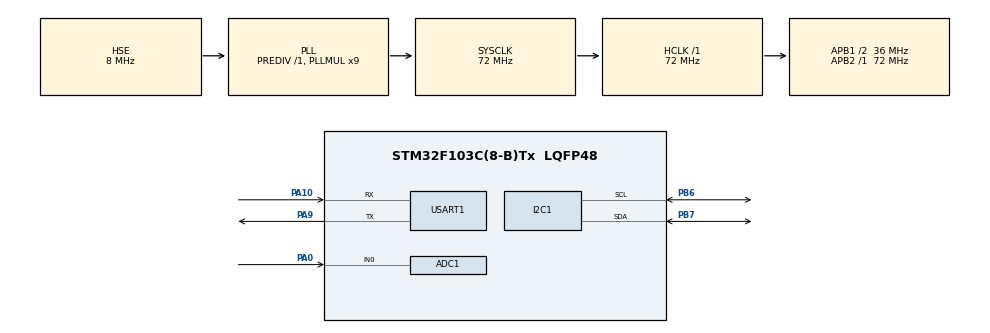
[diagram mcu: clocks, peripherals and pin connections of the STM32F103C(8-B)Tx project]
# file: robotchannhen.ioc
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ADC1.Channel-0\#ChannelRegularConversion=ADC_CHANNEL_0
ADC1.ContinuousConvMode=ENABLE
ADC1.NbrOfConversionFlag=1
ADC1.Rank-0\#ChannelRegularConversion=1
ADC1.SamplingTime-0\#ChannelRegularConversion=ADC_SAMPLETIME_1CYCLE_5
ADC1.master=1
Mcu.Family=STM32F1
Mcu.Name=STM32F103C(8-B)Tx
Mcu.Package=LQFP48
NVIC.ADC1_2_IRQn=true\:0\:0\:false\:false\:true\:true\:true\:true
NVIC.PriorityGroup=NVIC_PRIORITYGROUP_4
NVIC.TIM2_IRQn=true\:0\:0\:false\:false\:true\:true\:true\:true
NVIC.USART1_IRQn=true\:1\:0\:true\:false\:true\:true\:true\:true
PA0-WKUP.Signal=ADCx_IN0
PA10.Mode=Asynchronous
PA10.Signal=USART1_RX
PA13.Mode=Serial_Wire
PA13.Signal=SYS_JTMS-SWDIO
PA14.Mode=Serial_Wire
PA14.Signal=SYS_JTCK-SWCLK
PA9.Mode=Asynchronous
PA9.Signal=USART1_TX
PB6.Mode=I2C
PB6.Signal=I2C1_SCL
PB7.Mode=I2C
PB7.Signal=I2C1_SDA
PD0-OSC_IN.Mode=HSE-External-Oscillator
PD0-OSC_IN.Signal=RCC_OSC_IN
PD1-OSC_OUT.Mode=HSE-External-Oscillator
PD1-OSC_OUT.Signal=RCC_OSC_OUT
ProjectManager.HeapSize=0x200
ProjectManager.StackSize=0x400
ProjectManager.TargetToolchain=STM32CubeIDE
RCC.AHBFreq_Value=72000000
RCC.APB1CLKDivider=RCC_HCLK_DIV2
RCC.APB1Freq_Value=36000000
RCC.APB1TimFreq_Value=72000000
RCC.APB2Freq_Value=72000000
RCC.APB2TimFreq_Value=72000000
RCC.HCLKFreq_Value=72000000
RCC.PLLMUL=RCC_PLL_MUL9
RCC.PLLSourceVirtual=RCC_PLLSOURCE_HSE
RCC.SYSCLKFreq_VALUE=72000000
RCC.SYSCLKSource=RCC_SYSCLKSOURCE_PLLCLK
RCC.USBFreq_Value=72000000
SH.ADCx_IN0.0=ADC1_IN0,IN0
TIM2.AutoReloadPreload=TIM_AUTORELOAD_PRELOAD_DISABLE
TIM2.Period=9999
TIM2.Prescaler=143
USART1.VirtualMode=VM_ASYNC
VP_TIM2_VS_ClockSourceINT.Mode=Internal
board=custom

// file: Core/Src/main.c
/* USER CODE BEGIN Header */
/**
  ******************************************************************************
  * @file           : main.c
  * @brief          : Main program body
  ******************************************************************************
  * @attention
  *
  * Copyright (c) 2023 STMicroelectronics.
  * All rights reserved.
  *
  * This software is licensed under terms that can be found in the LICENSE file
  * in the root directory of this software component.
  * If no LICENSE file comes with this software, it is provided AS-IS.
  *
  ******************************************************************************
  */
/* USER CODE END Header */
#include "main.h"
#include "adc.h"
#include "i2c.h"
#include "tim.h"
#include "usart.h"
#include "gpio.h"

/* USER CODE BEGIN Includes */
#include "pca9685.h"
#include "math.h"
#include "lcd_i2c.h"
#include "stdio.h"
#include "stdint.h"
#include "string.h"
#include "stdlib.h"
/* USER CODE END Includes */

/* USER CODE BEGIN PD */

float servo[4][3];

#define length_a  55
#define length_b 77.5
#define length_c 27.5
#define length_side 71
#define z_absolute -28 //size of robot

#define z_default -50
#define z_up -30
#define z_boot -28
#define x_default  62
#define x_offset 0
#define y_start 0
#define y_step  40
#define y_default  62  //const for movement

#define spot_turn_speed 4
#define leg_move_speed  8
#define body_move_speed 3
#define stand_seat_speed  1

#define KEEP  255
#define pi  3.1415926

#define E_DELTA 0.01
/* USER CODE END PD */

/* USER CODE BEGIN PV */
  /* variables for movement ----------------------------------------------------*/
  float site_now[4][3];
  float site_expect[4][3];
  float temp_speed[4][3];

  float move_speed;
  float speed_multiple = 1;

  float temp_a;
  float temp_b;
  float temp_c;
  float temp_alpha;

  float turn_x1;
  float turn_y1;
  float turn_x0;
  float turn_y0;

  float alpha;
  float beta;
  float gan;

  int rest_counter;

  uint8_t rxData;
  uint8_t CT = 0;
  uint8_t NS;
  uint8_t NT;

  LCD_I2C_HandleTypeDef p_LCD;

  LCD_I2C_HandleTypeDef percent;

  float ADC_value = 0;

/* USER CODE END PV */

void SystemClock_Config(void);

/* USER CODE BEGIN 0 */
void polar_to_servo(int leg, float alpha, float beta, float gan)
{
  if (leg == 0)
  {
    alpha = 90 - alpha;
    beta = beta;
    gan += 90;
  }
  else if (leg == 1)
  {
    alpha += 90;
    beta = 180 - beta;
    gan = 90 - gan;
  }
  else if (leg == 2)
  {
    alpha += 90;
    beta = 180 - beta;
    gan = 90 - gan;
  }
  else if (leg == 3)
  {
    alpha = 90 - alpha;
    beta = beta;
    gan += 90;
  }

  PCA9685_SetServoAngle(servo[leg][0], alpha);
  PCA9685_SetServoAngle(servo[leg][1], beta);
  PCA9685_SetServoAngle(servo[leg][2], gan);
}

void cartesian_to_polar(float *alpha, float *beta, float *gan, float x, float y, float z)  // *alpha là pointer của alpha &->*
{
    // Calculate w-z degree
    float v, w;
    w = (x >= 0 ? 1 : -1) * (sqrt(powf(x, 2) + powf(y, 2)));
    v = w - length_c;
    *alpha = atan2f(z, v) + acosf((powf(length_a, 2) - powf(length_b, 2) + powf(v, 2) + powf(z, 2)) / (2.0f * length_a * sqrtf(powf(v, 2) + powf(z, 2))));
    *beta = acosf((powf(length_a, 2) + powf(length_b, 2) - powf(v, 2) - powf(z, 2)) / (2.0f * length_a * length_b));

    // Calculate x-y-z degree
    *gan = (w >= 0) ? atan2f(y, x) : atan2f(-y, -x);

    // Convert degrees from radian to degrees
    *alpha = *alpha / pi * 180.0f;
    *beta = *beta / pi * 180.0f;
    *gan = *gan / pi * 180.0f;
}
void wait_reach(int leg)
{
  while (1)
    if (site_now[leg][0] == site_expect[leg][0])
      if (site_now[leg][1] == site_expect[leg][1])
        if (site_now[leg][2] == site_expect[leg][2])
          break;
}

void wait_all_reach(void)
{
  for (int i = 0; i < 4; i++)
    wait_reach(i);
}

void set_site(int leg, float x, float y, float z)
{
  float length_x = 0, length_y = 0, length_z = 0;

  if (x != KEEP)
    length_x = x - site_now[leg][0];
  if (y != KEEP)
    length_y = y - site_now[leg][1];
  if (z != KEEP)
    length_z = z - site_now[leg][2];

  float length = sqrt(pow(length_x, 2) + pow(length_y, 2) + pow(length_z, 2));

  temp_speed[leg][0] = length_x / length * move_speed * speed_multiple;
  temp_speed[leg][1] = length_y / length * move_speed * speed_multiple;
  temp_speed[leg][2] = length_z / length * move_speed * speed_multiple;

  if (x != KEEP)
    site_expect[leg][0] = x;
  if (y != KEEP)
    site_expect[leg][1] = y;
  if (z != KEEP)
    site_expect[leg][2] = z;
}
void body_right(int i)
{
  set_site(0, site_now[0][0] - i, KEEP, KEEP);
  set_site(1, site_now[1][0] - i, KEEP, KEEP);
  set_site(2, site_now[2][0] + i, KEEP, KEEP);
  set_site(3, site_now[3][0] + i, KEEP, KEEP);
  wait_all_reach();
}

void body_left(int i)
{
  set_site(0, site_now[0][0] + i, KEEP, KEEP);
  set_site(1, site_now[1][0] + i, KEEP, KEEP);
  set_site(2, site_now[2][0] - i, KEEP, KEEP);
  set_site(3, site_now[3][0] - i, KEEP, KEEP);
  wait_all_reach();
}

void servo_service(void)  // Place it in a 20ms timer interrupt
{

  for (int i = 0; i < 4; i++)
  {
    for (int j = 0; j < 3; j++)
    {
      if (fabs(site_now[i][j] - site_expect[i][j]) < (fabs(temp_speed[i][j]) + E_DELTA))
        site_now[i][j] = site_expect[i][j];
      else
        site_now[i][j] += temp_speed[i][j];
    }

    cartesian_to_polar(&alpha, &beta, &gan, site_now[i][0], site_now[i][1], site_now[i][2]);
    polar_to_servo(i, alpha, beta, gan);
  }

  rest_counter++;
}

void setup() {
    set_site(0, x_default - x_offset, y_start + y_step, z_boot);
    set_site(1, x_default - x_offset, y_start + y_step, z_boot);
    set_site(2, x_default + x_offset, y_start, z_boot);
    set_site(3, x_default + x_offset, y_start, z_boot);
    for (int i = 0; i < 4; i++)
    {
        for (int j = 0; j < 3; j++)
        {
            site_now[i][j] = site_expect[i][j];
        }
    }
}

void sit(void)

{
  move_speed = stand_seat_speed;
  for (int leg = 0; leg < 4; leg++)
  {
    set_site(leg, KEEP, KEEP, z_boot);
  }
  wait_all_reach();
}

void stand(void)
{
  move_speed = stand_seat_speed;
  for (int leg = 0; leg < 4; leg++)
  {
    set_site(leg, KEEP, KEEP, z_default);
  }
  wait_all_reach();
}

void step_forward(unsigned int step)
{
  move_speed = leg_move_speed;
  while (step-- > 0)
  {
    if (site_now[2][1] == y_start)
    {
      //leg 2&1 move
      set_site(2, x_default + x_offset, y_start, z_up);
      wait_all_reach();
      set_site(2, x_default + x_offset, y_start + 2 * y_step, z_up);
      wait_all_reach();
      set_site(2, x_default + x_offset, y_start + 2 * y_step, z_default);
      wait_all_reach();

      move_speed = body_move_speed;

      set_site(0, x_default + x_offset, y_start, z_default);
      set_site(1, x_default + x_offset, y_start + 2 * y_step, z_default);
      set_site(2, x_default - x_offset, y_start + y_step, z_default);
      set_site(3, x_default - x_offset, y_start + y_step, z_default);
      wait_all_reach();

      move_speed = leg_move_speed;

      set_site(1, x_default + x_offset, y_start + 2 * y_step, z_up);
      wait_all_reach();
      set_site(1, x_default + x_offset, y_start, z_up);
      wait_all_reach();
      set_site(1, x_default + x_offset, y_start, z_default);
      wait_all_reach();
    }
    else
    {
      //leg 0&3 move
      set_site(0, x_default + x_offset, y_start, z_up);
      wait_all_reach();
      set_site(0, x_default + x_offset, y_start + 2 * y_step, z_up);
      wait_all_reach();
      set_site(0, x_default + x_offset, y_start + 2 * y_step, z_default);
      wait_all_reach();

      move_speed = body_move_speed;

      set_site(0, x_default - x_offset, y_start + y_step, z_default);
      set_site(1, x_default - x_offset, y_start + y_step, z_default);
      set_site(2, x_default + x_offset, y_start, z_default);
      set_site(3, x_default + x_offset, y_start + 2 * y_step, z_default);
      wait_all_reach();

      move_speed = leg_move_speed;

      set_site(3, x_default + x_offset, y_start + 2 * y_step, z_up);
      wait_all_reach();
      set_site(3, x_default + x_offset, y_start, z_up);
      wait_all_reach();
      set_site(3, x_default + x_offset, y_start, z_default);
      wait_all_reach();
    }
  }
}
void turn_left(unsigned int step)
{
  move_speed = spot_turn_speed;
  while (step-- > 0)
  {
    if (site_now[3][1] == y_start)
    {
      //leg 3&1 move
      set_site(3, x_default + x_offset, y_start, z_up);
      wait_all_reach();

      set_site(0, turn_x1 - x_offset, turn_y1, z_default);
      set_site(1, turn_x0 - x_offset, turn_y0, z_default);
      set_site(2, turn_x1 + x_offset, turn_y1, z_default);
      set_site(3, turn_x0 + x_offset, turn_y0, z_up);
      wait_all_reach();

      set_site(3, turn_x0 + x_offset, turn_y0, z_default);
      wait_all_reach();

      set_site(0, turn_x1 + x_offset, turn_y1, z_default);
      set_site(1, turn_x0 + x_offset, turn_y0, z_default);
      set_site(2, turn_x1 - x_offset, turn_y1, z_default);
      set_site(3, turn_x0 - x_offset, turn_y0, z_default);
      wait_all_reach();

      set_site(1, turn_x0 + x_offset, turn_y0, z_up);
      wait_all_reach();

      set_site(0, x_default + x_offset, y_start, z_default);
      set_site(1, x_default + x_offset, y_start, z_up);
      set_site(2, x_default - x_offset, y_start + y_step, z_default);
      set_site(3, x_default - x_offset, y_start + y_step, z_default);
      wait_all_reach();

      set_site(1, x_default + x_offset, y_start, z_default);
      wait_all_reach();
    }
    else
    {
      //leg 0&2 move
      set_site(0, x_default + x_offset, y_start, z_up);
      wait_all_reach();

      set_site(0, turn_x0 + x_offset, turn_y0, z_up);
      set_site(1, turn_x1 + x_offset, turn_y1, z_default);
      set_site(2, turn_x0 - x_offset, turn_y0, z_default);
      set_site(3, turn_x1 - x_offset, turn_y1, z_default);
      wait_all_reach();

      set_site(0, turn_x0 + x_offset, turn_y0, z_default);
      wait_all_reach();

      set_site(0, turn_x0 - x_offset, turn_y0, z_default);
      set_site(1, turn_x1 - x_offset, turn_y1, z_default);
      set_site(2, turn_x0 + x_offset, turn_y0, z_default);
      set_site(3, turn_x1 + x_offset, turn_y1, z_default);
      wait_all_reach();

      set_site(2, turn_x0 + x_offset, turn_y0, z_up);
      wait_all_reach();

      set_site(0, x_default - x_offset, y_start + y_step, z_default);
      set_site(1, x_default - x_offset, y_start + y_step, z_default);
      set_site(2, x_default + x_offset, y_start, z_up);
      set_site(3, x_default + x_offset, y_start, z_default);
      wait_all_reach();

      set_site(2, x_default + x_offset, y_start, z_default);
      wait_all_reach();
    }
  }
}
void turn_right(unsigned int step)
{
  move_speed = spot_turn_speed;
  while ((step--) > 0)
  {
    if (site_now[2][1] == y_start)
    {
      //leg 2&0 move
      set_site(2, x_default + x_offset, y_start, z_up);
      wait_all_reach();

      set_site(0, turn_x0 - x_offset, turn_y0, z_default);
      set_site(1, turn_x1 - x_offset, turn_y1, z_default);
      set_site(2, turn_x0 + x_offset, turn_y0, z_up);
      set_site(3, turn_x1 + x_offset, turn_y1, z_default);
      wait_all_reach();

      set_site(2, turn_x0 + x_offset, turn_y0, z_default);
      wait_all_reach();

      set_site(0, turn_x0 + x_offset, turn_y0, z_default);
      set_site(1, turn_x1 + x_offset, turn_y1, z_default);
      set_site(2, turn_x0 - x_offset, turn_y0, z_default);
      set_site(3, turn_x1 - x_offset, turn_y1, z_default);
      wait_all_reach();

      set_site(0, turn_x0 + x_offset, turn_y0, z_up);
      wait_all_reach();

      set_site(0, x_default + x_offset, y_start, z_up);
      set_site(1, x_default + x_offset, y_start, z_default);
      set_site(2, x_default - x_offset, y_start + y_step, z_default);
      set_site(3, x_default - x_offset, y_start + y_step, z_default);
      wait_all_reach();

      set_site(0, x_default + x_offset, y_start, z_default);
      wait_all_reach();
    }
    else
    {
      //leg 1&3 move
      set_site(1, x_default + x_offset, y_start, z_up);
      wait_all_reach();

      set_site(0, turn_x1 + x_offset, turn_y1, z_default);
      set_site(1, turn_x0 + x_offset, turn_y0, z_up);
      set_site(2, turn_x1 - x_offset, turn_y1, z_default);
      set_site(3, turn_x0 - x_offset, turn_y0, z_default);
      wait_all_reach();

      set_site(1, turn_x0 + x_offset, turn_y0, z_default);
      wait_all_reach();

      set_site(0, turn_x1 - x_offset, turn_y1, z_default);
      set_site(1, turn_x0 - x_offset, turn_y0, z_default);
      set_site(2, turn_x1 + x_offset, turn_y1, z_default);
      set_site(3, turn_x0 + x_offset, turn_y0, z_default);
      wait_all_reach();

      set_site(3, turn_x0 + x_offset, turn_y0, z_up);
      wait_all_reach();

      set_site(0, x_default - x_offset, y_start + y_step, z_default);
      set_site(1, x_default - x_offset, y_start + y_step, z_default);
      set_site(2, x_default + x_offset, y_start, z_default);
      set_site(3, x_default + x_offset, y_start, z_up);
      wait_all_reach();

      set_site(3, x_default + x_offset, y_start, z_default);
      wait_all_reach();
    }
  }
}

void step_back(unsigned int step)
{
  move_speed = leg_move_speed;
  while (step-- > 0)
  {
    if (site_now[3][1] == y_start)
    {
      //leg 3&0 move
      set_site(3, x_default + x_offset, y_start, z_up);
      wait_all_reach();
      set_site(3, x_default + x_offset, y_start + 2 * y_step, z_up);
      wait_all_reach();
      set_site(3, x_default + x_offset, y_start + 2 * y_step, z_default);
      wait_all_reach();

      move_speed = body_move_speed;

      set_site(0, x_default + x_offset, y_start + 2 * y_step, z_default);
      set_site(1, x_default + x_offset, y_start, z_default);
      set_site(2, x_default - x_offset, y_start + y_step, z_default);
      set_site(3, x_default - x_offset, y_start + y_step, z_default);
      wait_all_reach();

      move_speed = leg_move_speed;

      set_site(0, x_default + x_offset, y_start + 2 * y_step, z_up);
      wait_all_reach();
      set_site(0, x_default + x_offset, y_start, z_up);
      wait_all_reach();
      set_site(0, x_default + x_offset, y_start, z_default);
      wait_all_reach();
    }
    else
    {
      //leg 1&2 move
      set_site(1, x_default + x_offset, y_start, z_up);
      wait_all_reach();
      set_site(1, x_default + x_offset, y_start + 2 * y_step, z_up);
      wait_all_reach();
      set_site(1, x_default + x_offset, y_start + 2 * y_step, z_default);
      wait_all_reach();

      move_speed = body_move_speed;

      set_site(0, x_default - x_offset, y_start + y_step, z_default);
      set_site(1, x_default - x_offset, y_start + y_step, z_default);
      set_site(2, x_default + x_offset, y_start + 2 * y_step, z_default);
      set_site(3, x_default + x_offset, y_start, z_default);
      wait_all_reach();

      move_speed = leg_move_speed;

      set_site(2, x_default + x_offset, y_start + 2 * y_step, z_up);
      wait_all_reach();
      set_site(2, x_default + x_offset, y_start, z_up);
      wait_all_reach();
      set_site(2, x_default + x_offset, y_start, z_default);
      wait_all_reach();
    }
  }
}

void hand_wave(int i)
{
  float x_tmp;
  float y_tmp;
  float z_tmp;
  move_speed = 1;
  if (site_now[3][1] == y_start)
  {
    body_right(15);
    x_tmp = site_now[2][0];
    y_tmp = site_now[2][1];
    z_tmp = site_now[2][2];
    move_speed = body_move_speed;
    for (int j = 0; j < i; j++)
    {
      set_site(2, turn_x1, turn_y1, 50);
      wait_all_reach();
      set_site(2, turn_x0, turn_y0, 50);
      wait_all_reach();
    }
    set_site(2, x_tmp, y_tmp, z_tmp);
    wait_all_reach();
    move_speed = 1;
    body_left(15);
  }
  else
  {
    body_left(15);
    x_tmp = site_now[0][0];
    y_tmp = site_now[0][1];
    z_tmp = site_now[0][2];
    move_speed = body_move_speed;
    for (int j = 0; j < i; j++)
    {
      set_site(0, turn_x1, turn_y1, 50);
      wait_all_reach();
      set_site(0, turn_x0, turn_y0, 50);
      wait_all_reach();
    }
    set_site(0, x_tmp, y_tmp, z_tmp);
    wait_all_reach();
    move_speed = 1;
    body_right(15);
  }
}
void hand_shake(int i)
{
  float x_tmp;
  float y_tmp;
  float z_tmp;
  move_speed = 1;
  if (site_now[3][1] == y_start)
  {
    body_right(15);
    x_tmp = site_now[2][0];
    y_tmp = site_now[2][1];
    z_tmp = site_now[2][2];
    move_speed = body_move_speed;
    for (int j = 0; j < i; j++)
    {
      set_site(2, x_default - 30, y_start + 2 * y_step, 55);
      wait_all_reach();
      set_site(2, x_default - 30, y_start + 2 * y_step, 10);
      wait_all_reach();
    }
    set_site(2, x_tmp, y_tmp, z_tmp);
    wait_all_reach();
    move_speed = 1;
    body_left(15);
  }
  else
  {
    body_left(15);
    x_tmp = site_now[0][0];
    y_tmp = site_now[0][1];
    z_tmp = site_now[0][2];
    move_speed = body_move_speed;
    for (int j = 0; j < i; j++)
    {
      set_site(0, x_default - 30, y_start + 2 * y_step, 55);
      wait_all_reach();
      set_site(0, x_default - 30, y_start + 2 * y_step, 10);
      wait_all_reach();
    }
    set_site(0, x_tmp, y_tmp, z_tmp);
    wait_all_reach();
    move_speed = 1;
    body_right(15);
  }
}
void head_up(int i)
{
  set_site(0, KEEP, KEEP, site_now[0][2] - i);
  set_site(1, KEEP, KEEP, site_now[1][2] + i);
  set_site(2, KEEP, KEEP, site_now[2][2] - i);
  set_site(3, KEEP, KEEP, site_now[3][2] + i);
  wait_all_reach();
}

void head_down(int i)
{
  set_site(0, KEEP, KEEP, site_now[0][2] + i);
  set_site(1, KEEP, KEEP, site_now[1][2] - i);
  set_site(2, KEEP, KEEP, site_now[2][2] + i);
  set_site(3, KEEP, KEEP, site_now[3][2] - i);
  wait_all_reach();
}
void body_dance(int i)
{

  float body_dance_speed = 2;
  sit();
  move_speed = 1;
  set_site(0, x_default, y_default, KEEP);
  set_site(1, x_default, y_default, KEEP);
  set_site(2, x_default, y_default, KEEP);
  set_site(3, x_default, y_default, KEEP);
  wait_all_reach();
  //stand();
  set_site(0, x_default, y_default, z_default - 20);
  set_site(1, x_default, y_default, z_default - 20);
  set_site(2, x_default, y_default, z_default - 20);
  set_site(3, x_default, y_default, z_default - 20);
  wait_all_reach();
  move_speed = body_dance_speed;
  head_up(30);
  for (int j = 0; j < i; j++)
  {
    if (j > i / 4)
      move_speed = body_dance_speed * 2;
    if (j > i / 2)
      move_speed = body_dance_speed * 3;
    set_site(0, KEEP, y_default - 20, KEEP);
    set_site(1, KEEP, y_default + 20, KEEP);
    set_site(2, KEEP, y_default - 20, KEEP);
    set_site(3, KEEP, y_default + 20, KEEP);
    wait_all_reach();
    set_site(0, KEEP, y_default + 20, KEEP);
    set_site(1, KEEP, y_default - 20, KEEP);
    set_site(2, KEEP, y_default + 20, KEEP);
    set_site(3, KEEP, y_default - 20, KEEP);
    wait_all_reach();
  }
  move_speed = body_dance_speed;
  head_down(30);
}

void doichut(float time)  //HAL_delay
{
	uint32_t start  = HAL_GetTick();
	while ((HAL_GetTick()- start) <  time)
			{
		          //wait for time ms
			}
}

void hienthipin()
{
	          lcd_i2c_init(&p_LCD, &hi2c1, 16,2, 0x27<<1);
	          lcd_set_cursor(&p_LCD, 0, 0);
	          lcd_send_string(&p_LCD, "Battery:");
	          float ADC_value = (HAL_ADC_GetValue(&hadc1) / 4095.0*3.3);
  		  	  int  percent = (((((ADC_value))/2.5))*100.0);
  		  	  char save[3];
  		  	  sprintf(save, "%d", percent);
  		  	  lcd_set_cursor(&p_LCD,9 , 0);
  		  	  for(int i =0; i<2;i++)
  		  	  {
  		  	  lcd_send_data(&p_LCD, save[i]);
  		  	  }
  		  	  lcd_send_string(&p_LCD, "%");
   			  doichut(500);
}
/* USER CODE END 0 */

int main(void)
{
  /* USER CODE BEGIN 1 */
	   servo[0][0] = 1;
	   servo[0][1] = 2;
	   servo[0][2] = 3;
	   servo[1][0] = 5;
	   servo[1][1] = 6;
	   servo[1][2] = 7;
	   servo[2][0] = 9;
	   servo[2][1] = 10;
	   servo[2][2] = 11;
	   servo[3][0] = 13;
	   servo[3][1] = 14;
	   servo[3][2] = 15;

	   temp_a = sqrt(pow(2 * x_default + length_side, 2) + pow(y_step, 2));
	   temp_b = 2 * (y_start + y_step) + length_side;
	   temp_c = sqrt(pow(2 * x_default + length_side, 2) + pow(2 * y_start + y_step + length_side, 2));
	   temp_alpha = acos((pow(temp_a, 2) + pow(temp_b, 2) - pow(temp_c, 2)) / 2 / temp_a / temp_b);

	   turn_x1 = (temp_a - length_side) / 2;
	   turn_y1 = y_start + y_step / 2;
	   turn_x0 = turn_x1 - temp_b * cos(temp_alpha);
	   turn_y0 = temp_b * sin(temp_alpha) - turn_y1 - length_side;
  /* USER CODE END 1 */

  /* MCU Configuration--------------------------------------------------------*/

  /* Reset of all peripherals, Initializes the Flash interface and the Systick. */
  HAL_Init();

  /* Configure the system clock */
  SystemClock_Config();

  /* Initialize all configured peripherals */
  MX_GPIO_Init();
  MX_I2C1_Init();
  MX_TIM2_Init();
  MX_USART1_UART_Init();
  MX_ADC1_Init();
  /* USER CODE BEGIN 2 */
   PCA9685_Init(&hi2c1);
   setup();
   HAL_TIM_Base_Start_IT(&htim2);
   HAL_UART_Receive_IT(&huart1, &rxData, 1);
   HAL_ADC_Start(&hadc1);

  /* USER CODE END 2 */

  /* Infinite loop */
  while (1)
  {

    /* USER CODE BEGIN 3 */
	  switch (CT)
	  	  			  {
	                  case 0:
		              break;
	  	  			  case 97:
	  				  if (NT = CT)
	  				  {
	  	  				  stand();
	  				  }
	  				  CT = 0;
	  	  			  break;
	  	  			  case 98:
//	  	  				  if(distance > 20)
//	  	  				  {
//	  	  					  CT = 0;
//	  	  				  }
	  				  step_forward(1);
	  				  CT = 0;
	  	  				  break;
	  	  			  case 99:
	  				  step_back(1);
	  				  CT = 0;

	  	  				  break;
	  	  			  case 100:
	  				  body_dance(1);
	  				  CT = 0;
	  	  				  break;
	  	  			  case 101:
	  	  			  sit();
	  	  			  CT = 0;
	  	  				  break;
	  	  			  case 102:
	  	  				  hand_wave(1);
	  	  				  CT =0;
	  	  				  break;
	  	  			  case 103:
	  	  				  hand_shake(1);
	  	  				  CT = 0;
	  	  				  break;
	  	  			  case 104:
	  	  				  hienthipin();
	  	  				  CT = 0;
	  	  				  break;
	  	  				  if (NS != 0)
	  	  				  {
	  	  					 CT = NS;
	  	  					 NS = 0;
	  	  				  }
	  	  			  }

  /* USER CODE END 3 */
}
}
void SystemClock_Config(void)
{
  RCC_OscInitTypeDef RCC_OscInitStruct = {0};
  RCC_ClkInitTypeDef RCC_ClkInitStruct = {0};
  RCC_PeriphCLKInitTypeDef PeriphClkInit = {0};

  /** Initializes the RCC Oscillators according to the specified parameters
  * in the RCC_OscInitTypeDef structure.
  */
  RCC_OscInitStruct.OscillatorType = RCC_OSCILLATORTYPE_HSE;
  RCC_OscInitStruct.HSEState = RCC_HSE_ON;
  RCC_OscInitStruct.HSEPredivValue = RCC_HSE_PREDIV_DIV1;
  RCC_OscInitStruct.HSIState = RCC_HSI_ON;
  RCC_OscInitStruct.PLL.PLLState = RCC_PLL_ON;
  RCC_OscInitStruct.PLL.PLLSource = RCC_PLLSOURCE_HSE;
  RCC_OscInitStruct.PLL.PLLMUL = RCC_PLL_MUL9;
  if (HAL_RCC_OscConfig(&RCC_OscInitStruct) != HAL_OK)
  {
    Error_Handler();
  }

  /** Initializes the CPU, AHB and APB buses clocks
  */
  RCC_ClkInitStruct.ClockType = RCC_CLOCKTYPE_HCLK|RCC_CLOCKTYPE_SYSCLK
                              |RCC_CLOCKTYPE_PCLK1|RCC_CLOCKTYPE_PCLK2;
  RCC_ClkInitStruct.SYSCLKSource = RCC_SYSCLKSOURCE_PLLCLK;
  RCC_ClkInitStruct.AHBCLKDivider = RCC_SYSCLK_DIV1;
  RCC_ClkInitStruct.APB1CLKDivider = RCC_HCLK_DIV2;
  RCC_ClkInitStruct.APB2CLKDivider = RCC_HCLK_DIV1;

  if (HAL_RCC_ClockConfig(&RCC_ClkInitStruct, FLASH_LATENCY_2) != HAL_OK)
  {
    Error_Handler();
  }
  PeriphClkInit.PeriphClockSelection = RCC_PERIPHCLK_ADC;
  PeriphClkInit.AdcClockSelection = RCC_ADCPCLK2_DIV2;
  if (HAL_RCCEx_PeriphCLKConfig(&PeriphClkInit) != HAL_OK)
  {
    Error_Handler();
  }
}

/* USER CODE BEGIN 4 */
void HAL_TIM_PeriodElapsedCallback(TIM_HandleTypeDef *htim) {
	if(htim->Instance==htim2.Instance) {
		servo_service();
      }

    }
void HAL_UART_RxCpltCallback(UART_HandleTypeDef *huart)
{
  if(huart->Instance==USART1)
  {
	  NT = CT;
	  if(CT==0)
	  {
		CT=rxData;
	  }
	  else
	  {
		NS=rxData;
	  }
      HAL_UART_Receive_IT(&huart1, &rxData, 1);
  }
}

/* USER CODE END 4 */

void Error_Handler(void)
{
  __disable_irq();
  while (1)
  {
  }
}
